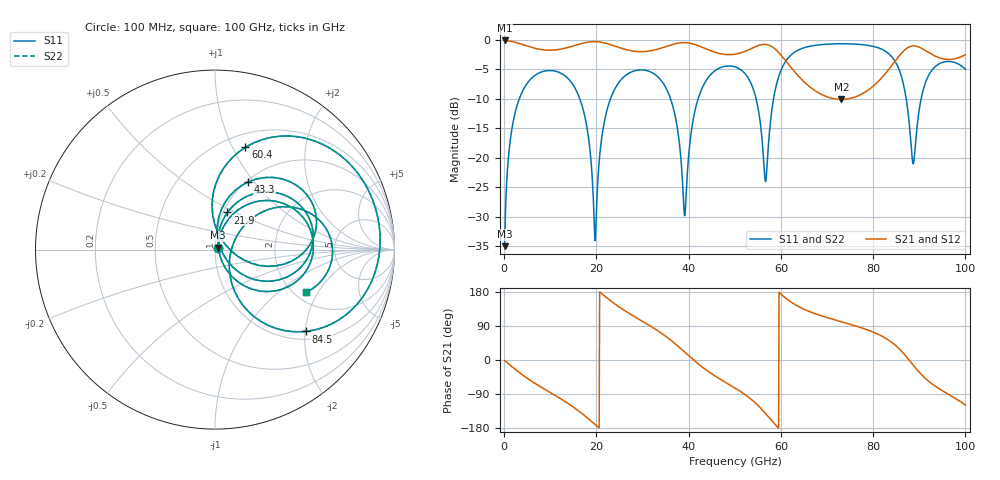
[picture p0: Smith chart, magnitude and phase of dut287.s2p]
! Touchstone file exported from HFSS 2026.1.0
!  File:  C:/ffzhzh/LocalFiles/Ansys_Project_Files/temp_train_TSV_RDL_287_1783680207_29156.aedt
!  Generated:  06:51:51 PM Jul 10, 2026
!  Design:  TSV_RDL
!  Project:  temp_train_TSV_RDL_287_1783680207_29156
! Variables:
!  h_bsmrdl = 3.53um
!  h_ox = 20um
!  h_rdl = 5um
!  h_sub = 84um
!  h_tmrdl = 3.45um
!  h_tsv = 84um
!  h_via = 3um
!  l_bsmrdl = 287.76um
!  l_sub = 2750.77um
!  l_tmrdl = 338.7um
!  m_sub = 200um
!  pitch = 56.17um
!  r_tsv = 8.88um
!  s_tmrdl = 10um
!  w_bsmrdl = 29.03um
!  w_sub = 500um
!  w_tmrdl = 15.2um
!  x_tsv_center1 = 346.3um
!  x_tsv_center2 = 663.09um
!  x_tsv_center3 = 1016.99um
!  x_tsv_center4 = 1333.78um
!  x_tsv_center5 = 1687.68um
!  x_tsv_center6 = 2004.47um
# GHz S MA R 50.000000
! Terminal data exported
! Port[1] = TM_RDL1_1_T1
! Port[2] = TM_RDL5_1_T1
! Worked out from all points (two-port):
!   1000 points, 100 MHz to 100 GHz, reference 50 ohm
!   highest |S21| = -0.12 dB at 100 MHz (marker M1); lowest = -10.1 dB at 73.1 GHz (marker M2)
!   |S21| within 3 dB of the highest: start of sweep to 60.58 GHz; 85.26 GHz to 94.6 GHz (9.341 GHz wide, 10.4 % of centre) (the widest 2 of 3)
!   lowest |S11| = -35.0 dB at 100 MHz (marker M3), VSWR 1.04, Z = 51.4 + j1.15 ohm
!   |S11| at or under -10 dB: 16.4 GHz to 23.06 GHz (6.662 GHz wide, 33.8 % of centre); 36.08 GHz to 42.06 GHz (5.977 GHz wide, 15.3 % of centre); 54.62 GHz to 58.4 GHz (3.781 GHz wide, 6.69 % of centre) (the widest 3 of 5)
!   |S22| runs from -35.0 to -0.7 dB; largest |S21 - S12| = 2.8e-14
!   S11 on the Smith chart (normalised r, x): 100 MHz: 1.03, +0.02; 21.9 GHz: 1.05, +0.46; 43.3 GHz: 1.02, +0.93; 60.4 GHz: 0.64, +1.12; 84.5 GHz: 1.19, -2.01; 100 GHz: 2.29, -1.59
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0.1  0.01787 38.8  0.9862 -1.1  0.9862 -1.1  0.01787 38.8
! Gamma 0 0 0 0
! Port Impedance 50 0 50 0
1.6  0.1682 67.3  0.9684 -16.7  0.9684 -16.7  0.1682 67.3
4.7  0.4111 41.6  0.8917 -45.7  0.8917 -45.7  0.4111 41.6
10.7  0.5458 -2.0  0.8176 -90.9  0.8176 -90.9  0.5458 -2.0
16.8  0.2839 -48.7  0.9294 -140.6  0.9294 -140.6  0.2839 -48.6
19.7  0.01996 2.2  0.9634 -169.9  0.9634 -169.9  0.02012 2.4
21.9  0.2185 71.5  0.9364 167.6  0.9364 167.6  0.2185 71.4
33.4  0.482 -12.7  0.8347 76.5  0.8347 76.5  0.482 -12.7
37  0.2338 -40.3  0.9226 43.7  0.9226 43.7  0.2338 -40.5
39.1  0.0323 12.8  0.9449 21.3  0.9449 21.3  0.03136 12.5
43.3  0.418 63.9  0.8525 -21.9  0.8525 -21.9  0.4179 64.1
50.1  0.5884 16.0  0.7552 -74.2  0.7552 -74.2  0.5884 16.1
54.2  0.3633 -14.2  0.8636 -110.4  0.8636 -110.4  0.3635 -13.9
56.7  0.06291 40.5  0.9124 -141.9  0.9124 -141.9  0.06478 40.5
60.4  0.5945 73.4  0.7121 169.8  0.7121 169.8  0.5947 73.3
66.7  0.8872 33.2  0.3871 125.5  0.3871 125.5  0.8872 33.2
73.1  0.9245 10.4  0.3127 100.9  0.3127 100.9  0.9245 10.5
83.4  0.7608 -33.6  0.5619 52.1  0.5619 52.1  0.761 -33.6
84.5  0.6799 -42.1  0.639 42.2  0.639 42.2  0.68 -42.1
88.7  0.08881 -10.3  0.8873 -13.8  0.8873 -13.8  0.08936 -10.5
92.3  0.5209 26.1  0.7679 -58.6  0.7679 -58.6  0.5208 26.0
100  0.5603 -25.1  0.7466 -118.8  0.7466 -118.8  0.5601 -25.2
